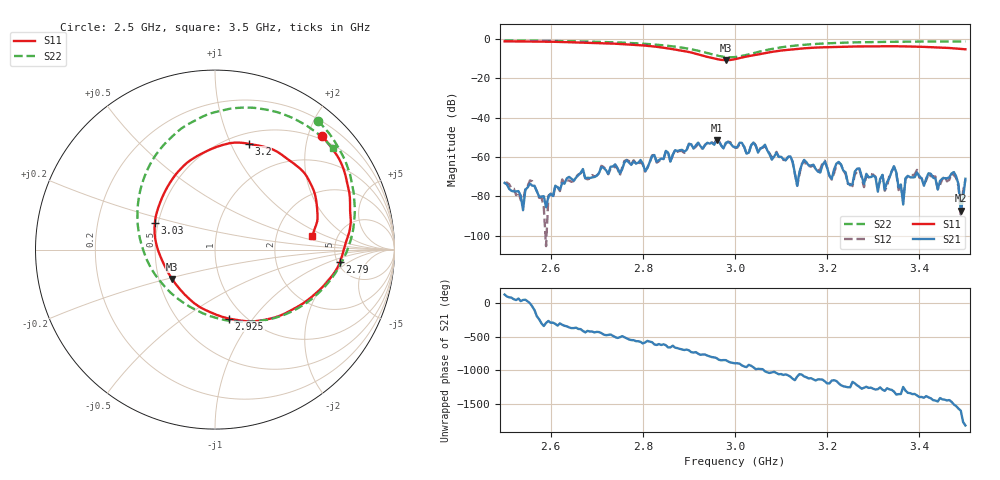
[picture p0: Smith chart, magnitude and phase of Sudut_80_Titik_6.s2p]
# Hz S RI R 50
! CMT, C1220, 16058040, 17.2.0/1
! Date: 15/08/2018 10:16:10
! Data: Format (Calibration Info)
! Freq  S11: Re/Im (F2)  S21: Re/Im (F2)  S12: Re/Im (F2)  S22: Re/Im (F2)
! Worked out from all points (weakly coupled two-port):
!   201 points, 2.5 GHz to 3.5 GHz, reference 50 ohm
!   highest |S21| = -51.29 dB at 2.96 GHz (marker M1); lowest = -87.3 dB at 3.49 GHz (marker M2)
!   lowest |S11| = -10.8 dB at 2.98 GHz (marker M3), VSWR 1.82, Z = 29.3 - j10.5 ohm
!   |S11| at or under -10 dB: 2.957 GHz to 3.004 GHz (47.56 MHz wide, 1.6 % of centre)
!   |S22| runs from -9.3 to -0.7 dB; largest |S21 - S12| = 0.00021
!   S11 on the Smith chart (normalised r, x): 2.5 GHz: 0.43, +2.24; 2.79 GHz: 5.28, -1.40; 2.925 GHz: 0.85, -0.77; 3.03 GHz: 0.48, +0.17; 3.2 GHz: 0.61, +1.17; 3.5 GHz: 3.24, +0.73
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2.5e9  0.5965 0.635  -0.000146 0.000165  -0.000111 0.000182  0.5729 0.7172
2.605e9  0.7073 0.4715  3.28e-05 9.69e-05  -4.81e-05 7.84e-05  0.6858 0.5709
2.67e9  0.7486 0.3155  0.000303 -0.000393  0.000257 -0.000363  0.7443 0.4429
2.79e9  0.6965 -0.0679  -0.000646 0.000309  -0.000549 0.000273  0.7672 0.0984
2.835e9  0.5791 -0.2279  -0.000327 0.000772  -0.000314 0.000719  0.7033 -0.0748
2.925e9  0.0776 -0.3846  0.00126 -0.00141  0.00118 -0.00127  0.2911 -0.3908
2.96e9  -0.144 -0.274  -0.000334 -0.00271  -0.000286 -0.00285  0.0155 -0.3828
2.98e9  -0.2389 -0.1639  -0.00141 -0.00182  -0.00131 -0.00179  -0.1422 -0.3173
3e9  -0.305 -0.0361  -0.00175 -0.000143  -0.00172 -7.94e-05  -0.2789 -0.2072
3.03e9  -0.335 0.1508  -0.00123 0.0004  -0.00124 0.000358  -0.4064 0.0168
3.12e9  -0.0815 0.5311  0.00102 -0.000247  0.00104 -0.000279  -0.2696 0.6003
3.135e9  -0.0255 0.5583  0.000184 -4.05e-05  0.000181 -3.82e-05  -0.212 0.6548
3.17e9  0.0922 0.5941  0.000363 -0.000525  0.000414 -0.000481  -0.0749 0.7383
3.2e9  0.1874 0.5895  -0.000224 -0.000482  -0.000217 -0.000494  0.0356 0.7737
3.335e9  0.4922 0.4332  -0.00027 0.000118  -0.000318 0.000118  0.4079 0.7438
3.345e9  0.5056 0.4158  -0.000321 0.000492  -0.000218 0.000512  0.4278 0.7354
3.365e9  0.5275 0.3778  -6.1e-05 -1.35e-05  -7.21e-05 4.7e-05  0.466 0.7155
3.395e9  0.5536 0.3188  0.000166 0.000369  0.000257 0.000398  0.5162 0.6871
3.44e9  0.5701 0.2124  0.000136 -6.52e-05  0.000136 -6.58e-05  0.5847 0.6353
3.475e9  0.5627 0.1355  0.000146 -0.000389  0.000162 -0.00031  0.6268 0.5956
3.49e9  0.551 0.1018  -4.11e-05 -1.31e-05  -2.66e-05 2.23e-05  0.6448 0.5764
3.5e9  0.5418 0.0784  0.000259 -0.000108  0.000227 -0.000133  0.6557 0.5648
